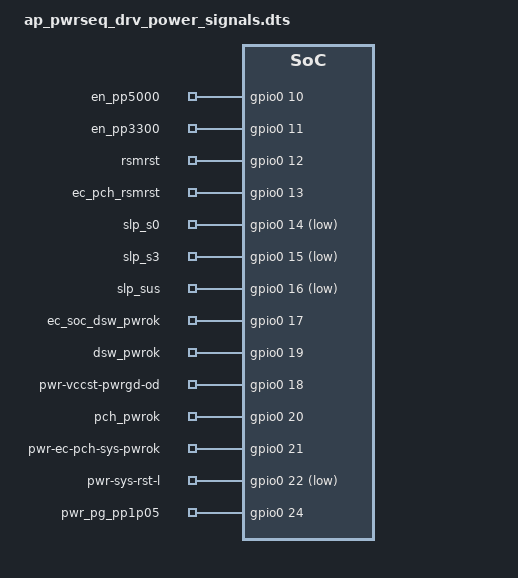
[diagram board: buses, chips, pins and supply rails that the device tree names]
/* Copyright 2024 The ChromiumOS Authors
 * Use of this source code is governed by a BSD-style license that can be
 * found in the LICENSE file.
 */

/ {
	common-pwrseq {
		compatible = "intel,ap-pwrseq";

		sys-pwrok-delay = <10>;
		all-sys-pwrgd-timeout = <20>;
	};

	named-gpios {
		compatible = "named-gpios";
		gpio_all_sys_pwrgd: all_sys_pwrgd {
			gpios = <&gpioa 3 GPIO_INPUT>;
		};
	};
	en_pp5000: pwr-en-pp5000-s5 {
		compatible = "intel,ap-pwrseq-gpio";
		dbg-label = "PP5000_S5 enable output to regulator";
		enum-name = "PWR_EN_PP5000_A";
		gpios = <&gpio0 10 0>;
		output;
	};
	en_pp3300: pwr-en-pp3300-s5 {
		compatible = "intel,ap-pwrseq-gpio";
		dbg-label = "PP3300_S5 enable output to LS";
		enum-name = "PWR_EN_PP3300_A";
		gpios = <&gpio0 11 0>;
		output;
	};
	rsmrst: pwr-pg-ec-rsmrst-odl {
		compatible = "intel,ap-pwrseq-gpio";
		dbg-label = "RSMRST power good from regulator";
		enum-name = "PWR_RSMRST_PWRGD";
		gpios = <&gpio0 12 0>;
	};
	ec_pch_rsmrst: pwr-ec-pch-rsmrst-odl {
		compatible = "intel,ap-pwrseq-gpio";
		dbg-label = "RSMRST output to PCH";
		enum-name = "PWR_EC_PCH_RSMRST";
		gpios = <&gpio0 13 0>;
		output;
	};
	slp_s0: pwr-slp-s0-l {
		compatible = "intel,ap-pwrseq-gpio";
		dbg-label = "SLP_S0_L input from PCH";
		enum-name = "PWR_SLP_S0";
		gpios = <&gpio0 14 GPIO_ACTIVE_LOW>;
		no-enable;
	};
	slp_s3: pwr-slp-s3-l {
		compatible = "intel,ap-pwrseq-gpio";
		dbg-label = "SLP_S3_L input from PCH";
		enum-name = "PWR_SLP_S3";
		gpios = <&gpio0 15 GPIO_ACTIVE_LOW>;
	};
	slp_sus: pwr-slp-sus-l {
		compatible = "intel,ap-pwrseq-gpio";
		dbg-label = "SLP_SUS_L input from PCH";
		enum-name = "PWR_SLP_SUS";
		gpios = <&gpio0 16 GPIO_ACTIVE_LOW>;
	};
	ec_soc_dsw_pwrok: pwr-ec-soc-dsw-pwrok {
		compatible = "intel,ap-pwrseq-gpio";
		dbg-label = "DSW_PWROK output to PCH";
		enum-name = "PWR_EC_SOC_DSW_PWROK";
		gpios = <&gpio0 17 0>;
		output;
	};
	dsw_pwrok: pwr-pp3300-pwrok {
		compatible = "intel,ap-pwrseq-gpio";
		dbg-label = "PP3300 PWROK";
		enum-name = "PWR_DSW_PWROK";
		gpios = <&gpio0 19 0>;
	};
	pwr-vccst-pwrgd-od {
		compatible = "intel,ap-pwrseq-gpio";
		dbg-label = "VCCST_PWRGD output to PCH";
		enum-name = "PWR_VCCST_PWRGD";
		gpios = <&gpio0 18 0>;
		output;
	};
	pch_pwrok: pwr-pch-pwrok {
		compatible = "intel,ap-pwrseq-gpio";
		dbg-label = "PCH_PWROK output to PCH";
		enum-name = "PWR_PCH_PWROK";
		gpios = <&gpio0 20 0>;
		output;
	};
	pwr-ec-pch-sys-pwrok {
		compatible = "intel,ap-pwrseq-gpio";
		dbg-label = "SYS_PWROK output to PCH";
		enum-name = "PWR_EC_PCH_SYS_PWROK";
		gpios = <&gpio0 21 0>;
		output;
	};
	pwr-sys-rst-l {
		compatible = "intel,ap-pwrseq-gpio";
		dbg-label = "SYS_RESET# output to PCH";
		enum-name = "PWR_SYS_RST";
		gpios = <&gpio0 22 GPIO_ACTIVE_LOW>;
		output;
	};
	pwr-all-sys-pwrgd {
		compatible = "intel,ap-pwrseq-external";
		dbg-label = "Combined all power good";
		enum-name = "PWR_ALL_SYS_PWRGD";
	};
	pwr_pg_pp1p05: pwr-pg-pp1p05 {
		compatible = "intel,ap-pwrseq-gpio";
		dbg-label = "PP1P05 PWROK (from ADC)";
		enum-name = "PWR_PG_PP1P05";
		gpios = <&gpio0 24 GPIO_ACTIVE_HIGH>;
	};
	ec_soc_dsw_pwrok_emul_pd: ec-soc-dsw-pwrok-emul-pd {
		compatible = "intel,ap-pwr-signal-emul";
		input-signal = <&ec_soc_dsw_pwrok>;
		init-value = <1>;
		ec-dsw-pwrok-slp-sus-emul {
			output-signal = <&slp_sus>;
			deassert-delay-ms = <5>;
			init-value= <0>;
			invert-value;
		};
	};
	ec_pch_rsmrst_emul_pd: ec-pch-rsmrst-emul-pd {
		compatible = "intel,ap-pwr-signal-emul";
		input-signal = <&ec_pch_rsmrst>;
		init-value = <0>;
		ec-pch-rsmrst-emul {
			output-signal = <&rsmrst>;
			deassert-delay-ms = <5>;
			init-value= <1>;
			invert-value;
		};
	};
	en_pp3300_emul_pd: en-pp3300-emul-pd {
		compatible = "intel,ap-pwr-signal-emul";
		input-signal = <&en_pp3300>;
		init-value = <1>;
		pp3300-dsw-pwrok-emul {
			output-signal = <&dsw_pwrok>;
			deassert-delay-ms = <2>;
			init-value= <1>;
		};
	};
	tp-power-down-ok {
		compatible = "intel,ap-pwr-test-platform";
		nodes = <&ec_soc_dsw_pwrok_emul_pd &ec_pch_rsmrst_emul_pd
				&en_pp3300_emul_pd>;
	};
	en_pp3300_emul_ok: en-pp3300-emul-ok {
		compatible = "intel,ap-pwr-signal-emul";
		input-signal = <&en_pp3300>;
		init-value = <0>;
		pp3300-dsw-pwrok-emul {
			output-signal = <&dsw_pwrok>;
			assert-delay-ms = <10>;
			init-value= <0>;
		};
	};
	tp-power-up-ok {
		compatible = "intel,ap-pwr-test-platform";
		nodes = <&en_pp3300_emul_ok>;
	};
	en_pp3300_emul_fail: en-pp3300-emul-fail {
		compatible = "intel,ap-pwr-signal-emul";
		input-signal = <&en_pp3300>;
		init-value = <0>;
		pp3300-dsw-pwrok-emul {
			output-signal = <&dsw_pwrok>;
			assert-delay-ms = <30000>;
			init-value= <0>;
		};
	};
	tp-power-up-fail {
		compatible = "intel,ap-pwr-test-platform";
		nodes = <&en_pp3300_emul_fail>;
	};
	ec_soc_dsw_pwrok_g3_emul: ec-soc-dsw-prok-g3-emul {
		compatible = "intel,ap-pwr-signal-emul";
		input-signal = <&ec_soc_dsw_pwrok>;
		init-value= <1>;
		edge = "EDGE_ACTIVE_ON_DEASSERT";
		ec-soc-dsw-prok-dsw-pwrok-emul {
			output-signal = <&dsw_pwrok>;
			init-value= <1>;
			deassert-delay-ms = <2>;
		};
		ec-soc-dsw-prok-rsmrst-emul {
			output-signal = <&rsmrst>;
			init-value= <1>;
			deassert-delay-ms = <1>;
		};
		ec-soc-dsw-prok-slp-sus-emul {
			output-signal = <&slp_sus>;
			init-value= <0>;
			invert-value;
			deassert-delay-ms = <1>;
		};
	};
	tp-s0-to-g3 {
		compatible = "intel,ap-pwr-test-platform";
		nodes = <&ec_soc_dsw_pwrok_g3_emul>;
	};
	ap-power {
		compatible = "ap-pwrseq-sub-states";
		chipset = "AP_POWER_STATE_S0IX";
	};
	gpio-interrupts {
		/delete-node/ int_usb_c0;
		/delete-node/ int_usb_c1;
	};
};

&gpio0 {
	ngpios = <28>;
};
